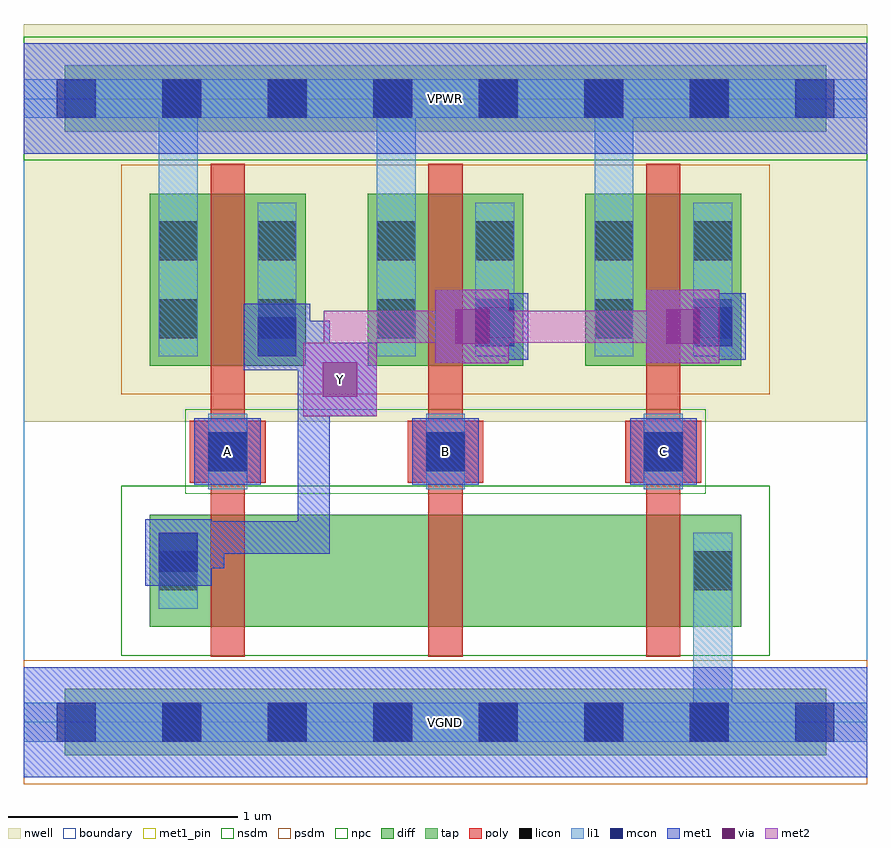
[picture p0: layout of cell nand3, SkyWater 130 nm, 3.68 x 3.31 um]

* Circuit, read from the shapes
.subckt nand3 A B C VGND VPWR Y
XM1 n1 A Y VGND sky130_fd_pr__nfet_01v8 w=0.49 l=0.15
XM2 n2 B n1 VGND sky130_fd_pr__nfet_01v8 w=0.49 l=0.15
XM3 VGND C n2 VGND sky130_fd_pr__nfet_01v8 w=0.49 l=0.15
XM4 Y A VPWR VPWR sky130_fd_pr__pfet_01v8 w=0.75 l=0.15
XM5 Y B VPWR VPWR sky130_fd_pr__pfet_01v8 w=0.75 l=0.15
XM6 Y C VPWR VPWR sky130_fd_pr__pfet_01v8 w=0.75 l=0.15
.ends

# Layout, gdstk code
import gdstk
lib = gdstk.Library(unit=1e-6, precision=1e-09)
def R(c, l, rs):  # rectangles x0, y0, x1, y1
    for r in rs: c.add(gdstk.rectangle(r[:2], r[2:], *l))
def A(c, l, x, y, w, h, nx, ny, dx, dy):  # array of equal rectangles
    R(c, l, [(x+i*dx, y+j*dy, x+i*dx+w, y+j*dy+h) for i in range(nx) for j in range(ny)])
nwell = (64, 20)
diff = (65, 20)
tap = (65, 44)
poly = (66, 20)
licon = (66, 44)
li1 = (67, 20)
mcon = (67, 44)
met1_pin = (68, 16)
met1 = (68, 20)
via = (68, 44)
met2 = (69, 20)
nsdm = (93, 44)
psdm = (94, 20)
npc = (95, 20)
boundary = (235, 4)

nand3 = lib.new_cell('nand3')
R(nand3, nwell, [(0,1.31,3.68,3.045)])
A(nand3, diff, 0.55, 1.555, 0.68, 0.75, 3, 1, 0.95, 0)
R(nand3, diff, [(0.55,0.415,3.13,0.905)])
R(nand3, tap, [(0.18,-0.145,3.5,0.145), (0.18,2.575,3.5,2.865)])
A(nand3, poly, 0.815, 0.285, 0.15, 2.15, 3, 1, 0.95, 0)
A(nand3, poly, 0.725, 1.045, 0.33, 0.27, 3, 1, 0.95, 0)
A(nand3, licon, 0.605, -0.085, 0.17, 0.17, 6, 2, 0.46, 2.72)
A(nand3, licon, 0.805, 1.095, 0.17, 0.17, 3, 1, 0.95, 0)
R(nand3, licon, [(0.59,0.575,0.76,0.745), (2.92,0.575,3.09,0.745), (0.59,1.675,0.76,1.845), (1.02,1.675,1.19,1.845), (1.54,1.675,1.71,1.845), (1.97,1.675,2.14,1.845), (2.49,1.675,2.66,1.845), (2.92,1.675,3.09,1.845), (0.59,2.015,0.76,2.185), (1.02,2.015,1.19,2.185), (1.54,2.015,1.71,2.185), (1.97,2.015,2.14,2.185), (2.49,2.015,2.66,2.185), (2.92,2.015,3.09,2.185)])
A(nand3, li1, 0.805, 1.015, 0.17, 0.33, 3, 1, 0.95, 0)
A(nand3, li1, 0.59, 1.595, 0.17, 1.21, 3, 1, 0.95, 0)
R(nand3, li1, [(0,-0.085,3.68,0.085), (2.92,-0.085,3.09,0.825), (0.59,0.495,0.76,0.825), (2.92,0.495,3.09,0.825), (0.59,1.595,0.76,2.265), (1.02,1.595,1.19,2.265), (1.54,1.595,1.71,2.265), (1.97,1.595,2.14,2.265), (2.49,1.595,2.66,2.265), (2.92,1.595,3.09,2.265), (0,2.635,3.68,2.805)])
A(nand3, mcon, 0.145, -0.085, 0.17, 0.17, 8, 2, 0.46, 2.72)
A(nand3, mcon, 0.805, 1.095, 0.17, 0.17, 3, 1, 0.95, 0)
R(nand3, mcon, [(0.59,0.655,0.76,0.825), (1.02,1.595,1.19,1.765), (1.97,1.64,2.14,1.81), (2.92,1.64,3.09,1.81)])
A(nand3, met1_pin, 0.745, 1.035, 0.29, 0.29, 3, 1, 0.95, 0)
R(nand3, met1_pin, [(0,-0.24,3.68,0.24), (1.22,1.335,1.54,1.655), (0,2.48,3.68,2.96)])
A(nand3, met1, 0.745, 1.035, 0.29, 0.29, 3, 1, 0.95, 0)
R(nand3, met1, [(0,-0.24,3.68,0.24), (0.53,0.595,0.82,0.885), (0.605,0.67,0.875,0.81), (0.735,0.67,0.875,0.875), (0.735,0.735,1.335,0.875), (1.195,0.735,1.335,1.565), (1.22,1.335,1.54,1.655), (1.195,1.425,1.335,1.75), (1.195,1.425,1.45,1.565), (0.96,1.535,1.25,1.825), (1.795,1.565,2.115,1.885), (2.715,1.565,3.035,1.885), (1.91,1.58,2.2,1.87), (2.86,1.58,3.15,1.87), (1.035,1.61,1.335,1.75), (1.885,1.655,2.125,1.795), (2.805,1.655,3.075,1.795), (0,2.48,3.68,2.96)])
R(nand3, via, [(1.305,1.42,1.455,1.57), (1.88,1.65,2.03,1.8), (2.8,1.65,2.95,1.8)])
R(nand3, met2, [(1.22,1.335,1.54,1.655), (1.31,1.425,1.45,1.795), (1.795,1.565,2.115,1.885), (2.715,1.565,3.035,1.885), (1.31,1.655,2.025,1.795), (1.885,1.655,2.945,1.795)])
R(nand3, nsdm, [(0.425,0.29,3.255,1.03), (0,2.45,3.68,2.99)])
R(nand3, psdm, [(0,-0.27,3.68,0.27), (0.425,1.43,3.255,2.43)])
R(nand3, npc, [(0.705,0.995,2.975,1.365)])
R(nand3, boundary, [(0,0,3.68,2.72)])
nand3.add(gdstk.Label('A', (0.89,1.18), layer=68, texttype=5))
nand3.add(gdstk.Label('B', (1.84,1.18), layer=68, texttype=5))
nand3.add(gdstk.Label('C', (2.79,1.18), layer=68, texttype=5))
nand3.add(gdstk.Label('Y', (1.38,1.495), layer=68, texttype=5))
nand3.add(gdstk.Label('VPWR', (1.84,2.72), layer=68, texttype=5))
nand3.add(gdstk.Label('VGND', (1.84,0), layer=68, texttype=5))
nand3.add(gdstk.Label('A', (0.89,1.18), layer=68, texttype=16))
nand3.add(gdstk.Label('B', (1.84,1.18), layer=68, texttype=16))
nand3.add(gdstk.Label('C', (2.79,1.18), layer=68, texttype=16))
nand3.add(gdstk.Label('Y', (1.38,1.495), layer=68, texttype=16))
nand3.add(gdstk.Label('VPWR', (1.84,2.72), layer=68, texttype=16))
nand3.add(gdstk.Label('VGND', (1.84,0), layer=68, texttype=16))

lib.write_gds('nand3.gds')
